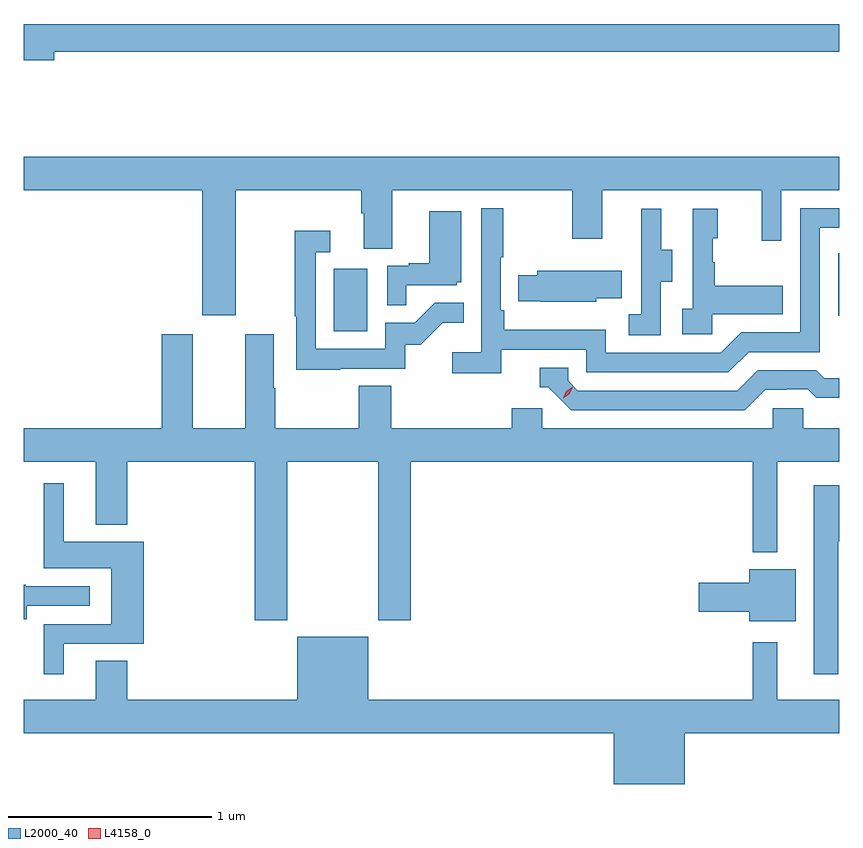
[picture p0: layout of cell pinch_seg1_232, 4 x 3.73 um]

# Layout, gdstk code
import gdstk
lib = gdstk.Library(unit=1e-6, precision=1e-09)
def R(c, l, rs):  # rectangles x0, y0, x1, y1
    for r in rs: c.add(gdstk.rectangle(r[:2], r[2:], *l))
def P(c, l, *ps):  # polygons
    for p in ps: c.add(gdstk.Polygon(p, *l))
L2000_40 = (2000, 40)
L4158_0 = (4158, 0)

pinch_seg1_232 = lib.new_cell('pinch_seg1_232')
R(pinch_seg1_232, L2000_40, [(923.006,565.692,923.17,565.999), (925.482,565.767,925.486,566.076)])
P(pinch_seg1_232, L2000_40, [(921.634,567.064),(925.486,567.064),(925.486,567.2),(921.486,567.2),(921.486,567.022),(921.634,567.022)],
  [(922.525,566.384),(923.141,566.384),(923.141,566.272),(923.153,566.272),(923.153,566.098),(923.293,566.098),(923.293,566.384),(924.178,566.384),(924.178,566.145),(924.325,566.145),(924.325,566.384),(925.106,566.384),(925.106,566.136),(925.203,566.136),(925.203,566.384),(925.486,566.384),(925.486,566.548),(921.486,566.548),(921.486,566.384),(922.361,566.384),(922.361,565.77),(922.525,565.77)],
  [(923.828,565.602),(924.246,565.602),(924.246,565.491),(924.943,565.491),(925.042,565.59),(925.392,565.59),(925.392,566.199),(925.486,566.199),(925.486,566.295),(925.296,566.295),(925.296,565.686),(925.005,565.686),(924.906,565.587),(924.342,565.587),(924.342,565.699),(923.843,565.699),(923.843,565.795),(923.826,565.795),(923.826,566.056),(923.839,566.056),(923.839,566.296),(923.73,566.296),(923.73,565.588),(923.589,565.588),(923.589,565.486),(923.828,565.486)],
  [(924.612,565.936),(924.667,565.936),(924.667,566.091),(924.613,566.091),(924.613,566.293),(924.515,566.293),(924.515,566.079),(924.516,566.079),(924.516,565.775),(924.453,565.775),(924.453,565.672),(924.612,565.672)],
  [(924.864,565.775),(925.211,565.775),(925.211,565.915),(924.877,565.915),(924.877,566.03),(924.867,566.03),(924.867,566.148),(924.892,566.148),(924.892,566.293),(924.768,566.293),(924.768,565.802),(924.717,565.802),(924.717,565.677),(924.864,565.677)],
  [(923.363,565.917),(923.61,565.917),(923.61,565.932),(923.632,565.932),(923.632,566.281),(923.474,566.281),(923.474,566.026),(923.375,566.026),(923.375,566.013),(923.268,566.013),(923.268,565.819),(923.363,565.819)],
  [(923.039,565.509),(923.358,565.509),(923.358,565.626),(923.434,565.626),(923.541,565.733),(923.645,565.733),(923.645,565.832),(923.501,565.832),(923.403,565.734),(923.259,565.734),(923.259,565.605),(922.917,565.605),(922.917,566.079),(922.99,566.079),(922.99,566.185),(922.816,566.185),(922.816,565.765),(922.821,565.765),(922.821,565.504),(923.039,565.504)],
  [(924.294,565.853),(924.419,565.853),(924.419,565.99),(924.005,565.99),(924.005,565.968),(923.911,565.968),(923.911,565.839),(924.022,565.839),(924.022,565.838),(924.294,565.838)],
  [(922.779,565.052),(923.224,565.052),(923.224,564.273),(923.384,564.273),(923.384,565.052),(925.062,565.052),(925.062,564.608),(925.183,564.608),(925.183,565.052),(925.486,565.052),(925.486,565.216),(925.311,565.216),(925.311,565.314),(925.161,565.314),(925.161,565.216),(924.03,565.216),(924.03,565.314),(923.879,565.314),(923.879,565.216),(923.288,565.216),(923.288,565.424),(923.128,565.424),(923.128,565.216),(922.719,565.216),(922.719,565.412),(922.711,565.412),(922.711,565.678),(922.571,565.678),(922.571,565.216),(922.315,565.216),(922.315,565.678),(922.163,565.678),(922.163,565.216),(921.486,565.216),(921.486,565.052),(921.839,565.052),(921.839,564.743),(921.992,564.743),(921.992,565.052),(922.619,565.052),(922.619,564.273),(922.779,564.273)],
  [(925.123,565.404),(925.23,565.404),(925.23,565.407),(925.333,565.407),(925.375,565.365),(925.486,565.365),(925.486,565.461),(925.414,565.461),(925.375,565.5),(925.086,565.5),(924.987,565.401),(924.204,565.401),(924.156,565.449),(924.156,565.512),(924.017,565.512),(924.017,565.416),(924.06,565.416),(924.171,565.305),(925.024,565.305)],
  [(921.682,564.159),(922.073,564.159),(922.073,564.658),(921.682,564.658),(921.682,564.946),(921.584,564.946),(921.584,564.53),(921.914,564.53),(921.914,564.255),(921.584,564.255),(921.584,564.009),(921.682,564.009)],
  [(925.483,564.662),(925.486,564.662),(925.486,564.937),(925.361,564.937),(925.361,564.009),(925.483,564.009)],
  [(925.273,564.523),(925.046,564.523),(925.046,564.458),(924.798,564.458),(924.798,564.316),(925.046,564.316),(925.046,564.269),(925.273,564.269)],
  [(921.499,564.345),(921.808,564.345),(921.808,564.441),(921.495,564.441),(921.495,564.449),(921.486,564.449),(921.486,564.278),(921.499,564.278)],
  [(924.73,563.72),(925.486,563.72),(925.486,563.884),(925.183,563.884),(925.183,564.166),(925.062,564.166),(925.062,563.884),(923.176,563.884),(923.176,564.193),(922.826,564.193),(922.826,563.884),(921.992,563.884),(921.992,564.074),(921.839,564.074),(921.839,563.884),(921.486,563.884),(921.486,563.72),(924.38,563.72),(924.38,563.47),(924.73,563.47)])
P(pinch_seg1_232, L4158_0, [(924.132,565.364),(924.132,565.364),(924.148,565.397),(924.178,565.416),(924.179,565.416),(924.179,565.416),(924.163,565.383),(924.132,565.364)])

lib.write_gds('pinch_seg1_232.gds')
